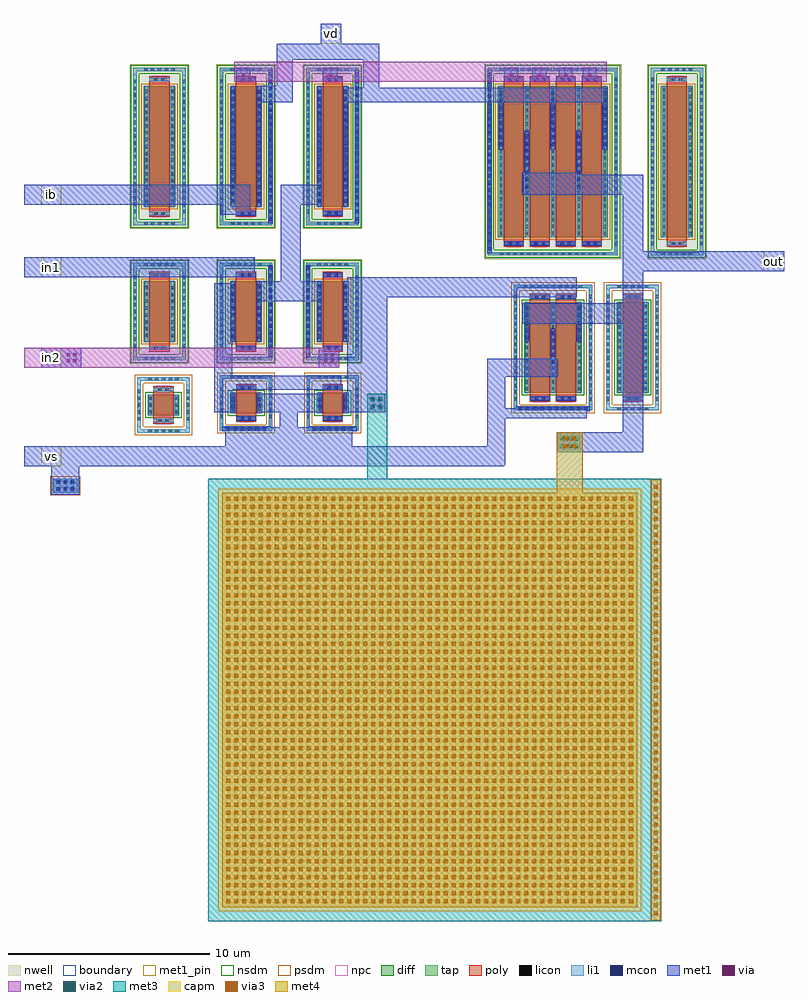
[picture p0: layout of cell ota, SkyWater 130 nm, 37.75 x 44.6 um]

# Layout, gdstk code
import gdstk
lib = gdstk.Library(unit=1e-6, precision=1e-09)
def R(c, l, rs):  # rectangles x0, y0, x1, y1
    for r in rs: c.add(gdstk.rectangle(r[:2], r[2:], *l))
def A(c, l, x, y, w, h, nx, ny, dx, dy):  # array of equal rectangles
    R(c, l, [(x+i*dx, y+j*dy, x+i*dx+w, y+j*dy+h) for i in range(nx) for j in range(ny)])
nwell = (64, 20)
diff = (65, 20)
tap = (65, 44)
poly = (66, 20)
licon = (66, 44)
li1 = (67, 20)
mcon = (67, 44)
met1_pin = (68, 16)
met1 = (68, 20)
via = (68, 44)
met2 = (69, 20)
via2 = (69, 44)
met3 = (70, 20)
via3 = (70, 44)
met4 = (71, 20)
capm = (89, 44)
nsdm = (93, 44)
psdm = (94, 20)
npc = (95, 20)
boundary = (235, 4)

sky130_fd_pr__pfet_01v8_ = lib.new_cell('sky130_fd_pr__pfet_01v8_G8TPYT')
R(sky130_fd_pr__pfet_01v8_, nwell, [(-1.48,-4.095,1.48,4.095)])
R(sky130_fd_pr__pfet_01v8_, diff, [(-0.79,-3,0.79,3)])
R(sky130_fd_pr__pfet_01v8_, tap, [(-1.3,-3.915,1.3,-3.745), (-1.3,-3.745,-1.13,3.745), (1.13,-3.745,1.3,3.745), (-1.3,3.745,1.3,3.915)])
R(sky130_fd_pr__pfet_01v8_, poly, [(-0.5,-3.485,0.5,3.485)])
A(sky130_fd_pr__pfet_01v8_, licon, -0.765, -3.915, 0.17, 0.17, 5, 2, 0.34, 7.66)
A(sky130_fd_pr__pfet_01v8_, licon, -1.3, -3.315, 0.17, 0.17, 1, 20, 0, 0.34)
A(sky130_fd_pr__pfet_01v8_, licon, 1.13, -3.315, 0.17, 0.17, 1, 20, 0, 0.34)
A(sky130_fd_pr__pfet_01v8_, licon, -0.73, -2.805, 0.17, 0.17, 1, 17, 0, 0.34)
A(sky130_fd_pr__pfet_01v8_, licon, 0.56, -2.805, 0.17, 0.17, 1, 17, 0, 0.34)
R(sky130_fd_pr__pfet_01v8_, licon, [(-0.255,-3.405,-0.085,-3.235), (0.085,-3.405,0.255,-3.235), (-0.255,3.235,-0.085,3.405), (0.085,3.235,0.255,3.405)])
R(sky130_fd_pr__pfet_01v8_, li1, [(-1.3,-3.915,1.3,-3.745), (-1.3,-3.745,-1.13,3.745), (1.13,-3.745,1.3,3.745), (-0.5,-3.405,0.5,-3.235), (-0.73,-3.02,-0.56,3.02), (0.56,-3.02,0.73,3.02), (-0.5,3.235,0.5,3.405), (-1.3,3.745,1.3,3.915)])
A(sky130_fd_pr__pfet_01v8_, mcon, 1.13, -3.685, 0.17, 0.17, 1, 21, 0, 0.36)
A(sky130_fd_pr__pfet_01v8_, mcon, -0.73, -2.785, 0.17, 0.17, 1, 16, 0, 0.36)
A(sky130_fd_pr__pfet_01v8_, mcon, 0.56, -2.785, 0.17, 0.17, 1, 16, 0, 0.36)
R(sky130_fd_pr__pfet_01v8_, mcon, [(-0.265,-3.405,-0.095,-3.235), (0.095,-3.405,0.265,-3.235), (-0.265,3.235,-0.095,3.405), (0.095,3.235,0.265,3.405)])
R(sky130_fd_pr__pfet_01v8_, met1, [(1.1,-3.805,1.33,3.805), (-0.48,-3.435,0.48,-3.205), (-0.76,-3,-0.53,3), (0.53,-3,0.76,3), (-0.48,3.205,0.48,3.435)])
R(sky130_fd_pr__pfet_01v8_, nsdm, [(-1.425,-4.04,1.425,-3.62), (-1.425,-3.62,-1.005,3.62), (1.005,-3.62,1.425,3.62), (-1.425,3.62,1.425,4.04)])
R(sky130_fd_pr__pfet_01v8_, psdm, [(-0.915,-3.125,0.915,3.125)])
R(sky130_fd_pr__pfet_01v8_, npc, [(-0.355,-3.505,0.355,-3.135), (-0.355,3.135,0.355,3.505)])
R(sky130_fd_pr__pfet_01v8_, boundary, [(-1.215,-3.83,1.215,3.83)])

sky130_fd_pr__nfet_01v8_ = lib.new_cell('sky130_fd_pr__nfet_01v8_SXTBPF')
R(sky130_fd_pr__nfet_01v8_, diff, [(-0.79,-0.5,0.79,0.5)])
R(sky130_fd_pr__nfet_01v8_, tap, [(-1.3,-1.37,1.3,-1.2), (-1.3,-1.2,-1.13,1.2), (1.13,-1.2,1.3,1.2), (-1.3,1.2,1.3,1.37)])
R(sky130_fd_pr__nfet_01v8_, poly, [(-0.5,-0.94,0.5,0.94)])
A(sky130_fd_pr__nfet_01v8_, licon, -0.765, -1.37, 0.17, 0.17, 5, 2, 0.34, 2.57)
A(sky130_fd_pr__nfet_01v8_, licon, -1.3, -0.765, 0.17, 0.17, 1, 5, 0, 0.34)
A(sky130_fd_pr__nfet_01v8_, licon, 1.13, -0.765, 0.17, 0.17, 1, 5, 0, 0.34)
A(sky130_fd_pr__nfet_01v8_, licon, -0.73, -0.425, 0.17, 0.17, 1, 3, 0, 0.34)
A(sky130_fd_pr__nfet_01v8_, licon, 0.56, -0.425, 0.17, 0.17, 1, 3, 0, 0.34)
R(sky130_fd_pr__nfet_01v8_, licon, [(-0.255,-0.86,-0.085,-0.69), (0.085,-0.86,0.255,-0.69), (-0.255,0.69,-0.085,0.86), (0.085,0.69,0.255,0.86)])
R(sky130_fd_pr__nfet_01v8_, li1, [(-1.3,-1.37,1.3,-1.2), (-1.3,-1.2,-1.13,1.2), (1.13,-1.2,1.3,1.2), (-0.5,-0.86,0.5,-0.69), (-0.73,-0.52,-0.56,0.52), (0.56,-0.52,0.73,0.52), (-0.5,0.69,0.5,0.86), (-1.3,1.2,1.3,1.37)])
A(sky130_fd_pr__nfet_01v8_, mcon, -0.985, -1.37, 0.17, 0.17, 6, 1, 0.36, 0)
R(sky130_fd_pr__nfet_01v8_, mcon, [(-0.265,-0.86,-0.095,-0.69), (0.095,-0.86,0.265,-0.69), (-0.73,-0.265,-0.56,-0.095), (0.56,-0.265,0.73,-0.095), (-0.73,0.095,-0.56,0.265), (0.56,0.095,0.73,0.265), (-0.265,0.69,-0.095,0.86), (0.095,0.69,0.265,0.86)])
R(sky130_fd_pr__nfet_01v8_, met1, [(-1.19,-1.4,1.19,-1.17), (-0.48,-0.89,0.48,-0.66), (-0.76,-0.5,-0.53,0.5), (0.53,-0.5,0.76,0.5), (-0.48,0.66,0.48,0.89)])
R(sky130_fd_pr__nfet_01v8_, nsdm, [(-0.915,-0.625,0.915,0.625)])
R(sky130_fd_pr__nfet_01v8_, psdm, [(-1.425,-1.495,1.425,-1.075), (-1.425,-1.075,-1.005,1.075), (1.005,-1.075,1.425,1.075), (-1.425,1.075,1.425,1.495)])
R(sky130_fd_pr__nfet_01v8_, npc, [(-0.355,-0.96,0.355,-0.59), (-0.355,0.59,0.355,0.96)])
R(sky130_fd_pr__nfet_01v8_, boundary, [(-1.21,-1.28,1.21,1.28)])

c_sky130_fd_pr__pfet_01v8_ = lib.new_cell('sky130_fd_pr__pfet_01v8_8ALGB7')
R(c_sky130_fd_pr__pfet_01v8_, nwell, [(-3.415,-4.845,3.415,4.845)])
R(c_sky130_fd_pr__pfet_01v8_, diff, [(-2.725,-3.75,2.725,3.75)])
R(c_sky130_fd_pr__pfet_01v8_, tap, [(-3.235,-4.665,3.235,-4.495), (-3.235,-4.495,-3.065,4.495), (3.065,-4.495,3.235,4.495), (-3.235,4.495,3.235,4.665)])
A(c_sky130_fd_pr__pfet_01v8_, poly, -2.435, -4.235, 1, 8.47, 4, 1, 1.29, 0)
A(c_sky130_fd_pr__pfet_01v8_, licon, -2.635, -4.665, 0.17, 0.17, 16, 2, 0.34, 9.16)
A(c_sky130_fd_pr__pfet_01v8_, licon, -3.235, -4.165, 0.17, 0.17, 1, 25, 0, 0.34)
A(c_sky130_fd_pr__pfet_01v8_, licon, 3.065, -4.165, 0.17, 0.17, 1, 25, 0, 0.34)
A(c_sky130_fd_pr__pfet_01v8_, licon, -2.665, -3.655, 0.17, 0.17, 5, 22, 1.29, 0.34)
R(c_sky130_fd_pr__pfet_01v8_, licon, [(-2.19,-4.155,-2.02,-3.985), (-1.85,-4.155,-1.68,-3.985), (-0.9,-4.155,-0.73,-3.985), (-0.56,-4.155,-0.39,-3.985), (0.39,-4.155,0.56,-3.985), (0.73,-4.155,0.9,-3.985), (1.68,-4.155,1.85,-3.985), (2.02,-4.155,2.19,-3.985), (-2.19,3.985,-2.02,4.155), (-1.85,3.985,-1.68,4.155), (-0.9,3.985,-0.73,4.155), (-0.56,3.985,-0.39,4.155), (0.39,3.985,0.56,4.155), (0.73,3.985,0.9,4.155), (1.68,3.985,1.85,4.155), (2.02,3.985,2.19,4.155)])
A(c_sky130_fd_pr__pfet_01v8_, li1, -2.435, -4.155, 1, 0.17, 4, 2, 1.29, 8.14)
A(c_sky130_fd_pr__pfet_01v8_, li1, -2.665, -3.77, 0.17, 7.54, 5, 1, 1.29, 0)
R(c_sky130_fd_pr__pfet_01v8_, li1, [(-3.235,-4.665,3.235,-4.495), (-3.235,-4.495,-3.065,4.495), (3.065,-4.495,3.235,4.495), (-3.235,4.495,3.235,4.665)])
A(c_sky130_fd_pr__pfet_01v8_, mcon, -3.235, -4.405, 0.17, 0.17, 1, 25, 0, 0.36)
A(c_sky130_fd_pr__pfet_01v8_, mcon, -1.375, -1.345, 0.17, 0.17, 1, 8, 0, 0.36)
A(c_sky130_fd_pr__pfet_01v8_, mcon, 1.205, -1.345, 0.17, 0.17, 1, 8, 0, 0.36)
A(c_sky130_fd_pr__pfet_01v8_, mcon, -2.665, 0.785, 0.17, 0.17, 3, 8, 2.58, 0.36)
R(c_sky130_fd_pr__pfet_01v8_, mcon, [(-2.2,-4.155,-2.03,-3.985), (-1.84,-4.155,-1.67,-3.985), (-0.91,-4.155,-0.74,-3.985), (-0.55,-4.155,-0.38,-3.985), (0.38,-4.155,0.55,-3.985), (0.74,-4.155,0.91,-3.985), (1.67,-4.155,1.84,-3.985), (2.03,-4.155,2.2,-3.985), (-2.2,3.985,-2.03,4.155), (-1.84,3.985,-1.67,4.155), (-0.91,3.985,-0.74,4.155), (-0.55,3.985,-0.38,4.155), (0.38,3.985,0.55,4.155), (0.74,3.985,0.91,4.155), (1.67,3.985,1.84,4.155), (2.03,3.985,2.2,4.155)])
A(c_sky130_fd_pr__pfet_01v8_, met1, -2.415, -4.185, 0.96, 0.23, 4, 2, 1.29, 8.14)
A(c_sky130_fd_pr__pfet_01v8_, met1, -2.695, 0.595, 0.23, 3.07, 3, 1, 2.58, 0)
R(c_sky130_fd_pr__pfet_01v8_, met1, [(-3.265,-4.555,-3.035,4.555), (-1.405,-1.535,-1.175,1.535), (1.175,-1.535,1.405,1.535)])
R(c_sky130_fd_pr__pfet_01v8_, nsdm, [(-3.36,-4.79,3.36,-4.37), (-3.36,-4.37,-2.94,4.37), (2.94,-4.37,3.36,4.37), (-3.36,4.37,3.36,4.79)])
R(c_sky130_fd_pr__pfet_01v8_, psdm, [(-2.85,-3.875,2.85,3.875)])
A(c_sky130_fd_pr__pfet_01v8_, npc, -2.29, -4.255, 0.71, 0.37, 4, 2, 1.29, 8.14)
R(c_sky130_fd_pr__pfet_01v8_, boundary, [(-3.15,-4.58,3.15,4.58)])

c_sky130_fd_pr__nfet_01v8_ = lib.new_cell('sky130_fd_pr__nfet_01v8_XABGW3')
R(c_sky130_fd_pr__nfet_01v8_, diff, [(-1.435,-2.25,1.435,2.25)])
R(c_sky130_fd_pr__nfet_01v8_, tap, [(-1.945,-3.12,1.945,-2.95), (-1.945,-2.95,-1.775,2.95), (1.775,-2.95,1.945,2.95), (-1.945,2.95,1.945,3.12)])
R(c_sky130_fd_pr__nfet_01v8_, poly, [(-1.145,-2.69,-0.145,2.69), (0.145,-2.69,1.145,2.69)])
A(c_sky130_fd_pr__nfet_01v8_, licon, -1.445, -3.12, 0.17, 0.17, 9, 2, 0.34, 6.07)
A(c_sky130_fd_pr__nfet_01v8_, licon, -1.945, -2.635, 0.17, 0.17, 1, 16, 0, 0.34)
A(c_sky130_fd_pr__nfet_01v8_, licon, 1.775, -2.635, 0.17, 0.17, 1, 16, 0, 0.34)
A(c_sky130_fd_pr__nfet_01v8_, licon, -1.375, -2.125, 0.17, 0.17, 3, 13, 1.29, 0.34)
R(c_sky130_fd_pr__nfet_01v8_, licon, [(-0.9,-2.61,-0.73,-2.44), (-0.56,-2.61,-0.39,-2.44), (0.39,-2.61,0.56,-2.44), (0.73,-2.61,0.9,-2.44), (-0.9,2.44,-0.73,2.61), (-0.56,2.44,-0.39,2.61), (0.39,2.44,0.56,2.61), (0.73,2.44,0.9,2.61)])
A(c_sky130_fd_pr__nfet_01v8_, li1, -1.375, -2.27, 0.17, 4.54, 3, 1, 1.29, 0)
R(c_sky130_fd_pr__nfet_01v8_, li1, [(-1.945,-3.12,1.945,-2.95), (-1.945,-2.95,-1.775,2.95), (1.775,-2.95,1.945,2.95), (-1.145,-2.61,-0.145,-2.44), (0.145,-2.61,1.145,-2.44), (-1.145,2.44,-0.145,2.61), (0.145,2.44,1.145,2.61), (-1.945,2.95,1.945,3.12)])
A(c_sky130_fd_pr__nfet_01v8_, mcon, -1.705, -3.12, 0.17, 0.17, 10, 1, 0.36, 0)
A(c_sky130_fd_pr__nfet_01v8_, mcon, -0.085, -0.805, 0.17, 0.17, 1, 5, 0, 0.36)
A(c_sky130_fd_pr__nfet_01v8_, mcon, -1.375, 0.425, 0.17, 0.17, 1, 5, 0, 0.36)
A(c_sky130_fd_pr__nfet_01v8_, mcon, 1.205, 0.425, 0.17, 0.17, 1, 5, 0, 0.36)
R(c_sky130_fd_pr__nfet_01v8_, mcon, [(-0.91,-2.61,-0.74,-2.44), (-0.55,-2.61,-0.38,-2.44), (0.38,-2.61,0.55,-2.44), (0.74,-2.61,0.91,-2.44), (-0.91,2.44,-0.74,2.61), (-0.55,2.44,-0.38,2.61), (0.38,2.44,0.55,2.61), (0.74,2.44,0.91,2.61)])
R(c_sky130_fd_pr__nfet_01v8_, met1, [(-1.835,-3.15,1.835,-2.92), (-1.125,-2.64,-0.165,-2.41), (0.165,-2.64,1.125,-2.41), (-0.115,-0.935,0.115,0.935), (-1.405,0.295,-1.175,2.165), (1.175,0.295,1.405,2.165), (-1.125,2.41,-0.165,2.64), (0.165,2.41,1.125,2.64)])
R(c_sky130_fd_pr__nfet_01v8_, nsdm, [(-1.56,-2.375,1.56,2.375)])
R(c_sky130_fd_pr__nfet_01v8_, psdm, [(-2.07,-3.245,2.07,-2.825), (-2.07,-2.825,-1.65,2.825), (1.65,-2.825,2.07,2.825), (-2.07,2.825,2.07,3.245)])
R(c_sky130_fd_pr__nfet_01v8_, npc, [(-1,-2.71,-0.29,-2.34), (0.29,-2.71,1,-2.34), (-1,2.34,-0.29,2.71), (0.29,2.34,1,2.71)])
R(c_sky130_fd_pr__nfet_01v8_, boundary, [(-1.86,-3.035,1.86,3.035)])

c_sky130_fd_pr__pfet_01v8__ = lib.new_cell('sky130_fd_pr__pfet_01v8_G8PDUZ')
R(c_sky130_fd_pr__pfet_01v8__, nwell, [(-1.48,-2.595,1.48,2.595)])
R(c_sky130_fd_pr__pfet_01v8__, diff, [(-0.79,-1.5,0.79,1.5)])
R(c_sky130_fd_pr__pfet_01v8__, tap, [(-1.3,-2.415,1.3,-2.245), (-1.3,-2.245,-1.13,2.245), (1.13,-2.245,1.3,2.245), (-1.3,2.245,1.3,2.415)])
R(c_sky130_fd_pr__pfet_01v8__, poly, [(-0.5,-1.985,0.5,1.985)])
A(c_sky130_fd_pr__pfet_01v8__, licon, -0.765, -2.415, 0.17, 0.17, 5, 2, 0.34, 4.66)
A(c_sky130_fd_pr__pfet_01v8__, licon, -1.3, -1.785, 0.17, 0.17, 1, 11, 0, 0.34)
A(c_sky130_fd_pr__pfet_01v8__, licon, 1.13, -1.785, 0.17, 0.17, 1, 11, 0, 0.34)
A(c_sky130_fd_pr__pfet_01v8__, licon, -0.73, -1.275, 0.17, 0.17, 1, 8, 0, 0.34)
A(c_sky130_fd_pr__pfet_01v8__, licon, 0.56, -1.275, 0.17, 0.17, 1, 8, 0, 0.34)
R(c_sky130_fd_pr__pfet_01v8__, licon, [(-0.255,-1.905,-0.085,-1.735), (0.085,-1.905,0.255,-1.735), (-0.255,1.735,-0.085,1.905), (0.085,1.735,0.255,1.905)])
R(c_sky130_fd_pr__pfet_01v8__, li1, [(-1.3,-2.415,1.3,-2.245), (-1.3,-2.245,-1.13,2.245), (1.13,-2.245,1.3,2.245), (-0.5,-1.905,0.5,-1.735), (-0.73,-1.52,-0.56,1.52), (0.56,-1.52,0.73,1.52), (-0.5,1.735,0.5,1.905), (-1.3,2.245,1.3,2.415)])
A(c_sky130_fd_pr__pfet_01v8__, mcon, -1.3, -2.245, 0.17, 0.17, 1, 13, 0, 0.36)
A(c_sky130_fd_pr__pfet_01v8__, mcon, -0.73, -1.345, 0.17, 0.17, 1, 8, 0, 0.36)
A(c_sky130_fd_pr__pfet_01v8__, mcon, 0.56, -1.345, 0.17, 0.17, 1, 8, 0, 0.36)
R(c_sky130_fd_pr__pfet_01v8__, mcon, [(-0.265,-1.905,-0.095,-1.735), (0.095,-1.905,0.265,-1.735), (-0.265,1.735,-0.095,1.905), (0.095,1.735,0.265,1.905)])
R(c_sky130_fd_pr__pfet_01v8__, met1, [(-1.33,-2.305,-1.1,2.305), (-0.48,-1.935,0.48,-1.705), (-0.76,-1.5,-0.53,1.5), (0.53,-1.5,0.76,1.5), (-0.48,1.705,0.48,1.935)])
R(c_sky130_fd_pr__pfet_01v8__, nsdm, [(-1.425,-2.54,1.425,-2.12), (-1.425,-2.12,-1.005,2.12), (1.005,-2.12,1.425,2.12), (-1.425,2.12,1.425,2.54)])
R(c_sky130_fd_pr__pfet_01v8__, psdm, [(-0.915,-1.625,0.915,1.625)])
R(c_sky130_fd_pr__pfet_01v8__, npc, [(-0.355,-2.005,0.355,-1.635), (-0.355,1.635,0.355,2.005)])
R(c_sky130_fd_pr__pfet_01v8__, boundary, [(-1.215,-2.33,1.215,2.33)])

c_sky130_fd_pr__pfet_01v8___ = lib.new_cell('sky130_fd_pr__pfet_01v8_G8TFUZ')
R(c_sky130_fd_pr__pfet_01v8___, nwell, [(-1.48,-2.595,1.48,2.595)])
R(c_sky130_fd_pr__pfet_01v8___, diff, [(-0.79,-1.5,0.79,1.5)])
R(c_sky130_fd_pr__pfet_01v8___, tap, [(-1.3,-2.415,1.3,-2.245), (-1.3,-2.245,-1.13,2.245), (1.13,-2.245,1.3,2.245), (-1.3,2.245,1.3,2.415)])
R(c_sky130_fd_pr__pfet_01v8___, poly, [(-0.5,-1.985,0.5,1.985)])
A(c_sky130_fd_pr__pfet_01v8___, licon, -0.765, -2.415, 0.17, 0.17, 5, 2, 0.34, 4.66)
A(c_sky130_fd_pr__pfet_01v8___, licon, -1.3, -1.785, 0.17, 0.17, 1, 11, 0, 0.34)
A(c_sky130_fd_pr__pfet_01v8___, licon, 1.13, -1.785, 0.17, 0.17, 1, 11, 0, 0.34)
A(c_sky130_fd_pr__pfet_01v8___, licon, -0.73, -1.275, 0.17, 0.17, 1, 8, 0, 0.34)
A(c_sky130_fd_pr__pfet_01v8___, licon, 0.56, -1.275, 0.17, 0.17, 1, 8, 0, 0.34)
R(c_sky130_fd_pr__pfet_01v8___, licon, [(-0.255,-1.905,-0.085,-1.735), (0.085,-1.905,0.255,-1.735), (-0.255,1.735,-0.085,1.905), (0.085,1.735,0.255,1.905)])
R(c_sky130_fd_pr__pfet_01v8___, li1, [(-1.3,-2.415,1.3,-2.245), (-1.3,-2.245,-1.13,2.245), (1.13,-2.245,1.3,2.245), (-0.5,-1.905,0.5,-1.735), (-0.73,-1.52,-0.56,1.52), (0.56,-1.52,0.73,1.52), (-0.5,1.735,0.5,1.905), (-1.3,2.245,1.3,2.415)])
A(c_sky130_fd_pr__pfet_01v8___, mcon, 1.13, -2.245, 0.17, 0.17, 1, 13, 0, 0.36)
A(c_sky130_fd_pr__pfet_01v8___, mcon, -0.73, -1.345, 0.17, 0.17, 1, 8, 0, 0.36)
A(c_sky130_fd_pr__pfet_01v8___, mcon, 0.56, -1.345, 0.17, 0.17, 1, 8, 0, 0.36)
R(c_sky130_fd_pr__pfet_01v8___, mcon, [(-0.265,-1.905,-0.095,-1.735), (0.095,-1.905,0.265,-1.735), (-0.265,1.735,-0.095,1.905), (0.095,1.735,0.265,1.905)])
R(c_sky130_fd_pr__pfet_01v8___, met1, [(1.1,-2.305,1.33,2.305), (-0.48,-1.935,0.48,-1.705), (-0.76,-1.5,-0.53,1.5), (0.53,-1.5,0.76,1.5), (-0.48,1.705,0.48,1.935)])
R(c_sky130_fd_pr__pfet_01v8___, nsdm, [(-1.425,-2.54,1.425,-2.12), (-1.425,-2.12,-1.005,2.12), (1.005,-2.12,1.425,2.12), (-1.425,2.12,1.425,2.54)])
R(c_sky130_fd_pr__pfet_01v8___, psdm, [(-0.915,-1.625,0.915,1.625)])
R(c_sky130_fd_pr__pfet_01v8___, npc, [(-0.355,-2.005,0.355,-1.635), (-0.355,1.635,0.355,2.005)])
R(c_sky130_fd_pr__pfet_01v8___, boundary, [(-1.215,-2.33,1.215,2.33)])

sky130_fd_pr__cap_mim_m3 = lib.new_cell('sky130_fd_pr__cap_mim_m3_1_2NYK3R')
R(sky130_fd_pr__cap_mim_m3, met3, [(-11.25,-11,11.245,11)])
A(sky130_fd_pr__cap_mim_m3, via3, 10.885, -10.7, 0.2, 0.2, 1, 54, 0, 0.4)
A(sky130_fd_pr__cap_mim_m3, via3, -10.35, -10.1, 0.2, 0.2, 51, 51, 0.4, 0.4)
R(sky130_fd_pr__cap_mim_m3, met4, [(10.745,-10.94,11.225,10.94), (-10.555,-10.305,10.055,10.305)])
R(sky130_fd_pr__cap_mim_m3, capm, [(-10.75,-10.5,10.25,10.5)])
R(sky130_fd_pr__cap_mim_m3, boundary, [(-11.25,-11,10.75,11)])

ota = lib.new_cell('ota')
R(ota, nwell, [(-4.3,28.4,-1.34,33.59), (21.4,33.6,24.36,43.29), (-4.3,35.1,-1.34,43.29)])
R(ota, diff, [(-3.41,25.85,-1.83,26.85), (19.89,26.95,21.47,31.45), (-3.61,29.495,-2.03,32.495), (22.09,34.695,23.67,42.195), (-3.61,36.195,-2.03,42.195)])
R(ota, tap, [(-8.12,22,-6.88,22.7), (-3.92,24.98,-1.32,25.15), (-3.92,25.15,-3.75,27.55), (-1.49,25.15,-1.32,27.55), (19.38,26.08,21.98,26.25), (19.38,26.25,19.55,32.15), (21.81,26.25,21.98,32.15), (-3.92,27.55,-1.32,27.72), (-4.12,28.58,-1.52,28.75), (-4.12,28.75,-3.95,33.24), (-1.69,28.75,-1.52,33.24), (19.38,32.15,21.98,32.32), (-4.12,33.24,-1.52,33.41), (21.58,33.78,24.18,33.95), (21.58,33.95,21.75,42.94), (24.01,33.95,24.18,42.94), (-4.12,35.28,-1.52,35.45), (-4.12,35.45,-3.95,42.94), (-1.69,35.45,-1.52,42.94), (-4.12,42.94,-1.52,43.11), (21.58,42.94,24.18,43.11)])
R(ota, poly, [(-3.12,25.41,-2.12,27.29), (20.18,26.51,21.18,31.89), (-3.32,29.01,-2.32,32.98), (22.38,34.21,23.38,42.68), (-3.32,35.71,-2.32,42.68)])
A(ota, licon, -7.925, 22.095, 0.17, 0.17, 3, 2, 0.34, 0.34)
A(ota, licon, -3.385, 24.98, 0.17, 0.17, 5, 2, 0.34, 2.57)
A(ota, licon, -3.92, 25.585, 0.17, 0.17, 1, 5, 0, 0.34)
A(ota, licon, -1.49, 25.585, 0.17, 0.17, 1, 5, 0, 0.34)
A(ota, licon, -3.35, 25.925, 0.17, 0.17, 1, 3, 0, 0.34)
A(ota, licon, -2.06, 25.925, 0.17, 0.17, 1, 3, 0, 0.34)
A(ota, licon, 19.915, 26.08, 0.17, 0.17, 5, 2, 0.34, 6.07)
A(ota, licon, 19.38, 26.565, 0.17, 0.17, 1, 16, 0, 0.34)
A(ota, licon, 21.81, 26.565, 0.17, 0.17, 1, 16, 0, 0.34)
A(ota, licon, 19.95, 27.075, 0.17, 0.17, 1, 13, 0, 0.34)
A(ota, licon, 21.24, 27.075, 0.17, 0.17, 1, 13, 0, 0.34)
A(ota, licon, -3.585, 28.58, 0.17, 0.17, 5, 2, 0.34, 4.66)
A(ota, licon, -4.12, 29.21, 0.17, 0.17, 1, 11, 0, 0.34)
A(ota, licon, -1.69, 29.21, 0.17, 0.17, 1, 11, 0, 0.34)
A(ota, licon, -3.55, 29.72, 0.17, 0.17, 1, 8, 0, 0.34)
A(ota, licon, -2.26, 29.72, 0.17, 0.17, 1, 8, 0, 0.34)
A(ota, licon, 22.115, 33.78, 0.17, 0.17, 5, 2, 0.34, 9.16)
A(ota, licon, 21.58, 34.28, 0.17, 0.17, 1, 25, 0, 0.34)
A(ota, licon, 24.01, 34.28, 0.17, 0.17, 1, 25, 0, 0.34)
A(ota, licon, 22.15, 34.79, 0.17, 0.17, 1, 22, 0, 0.34)
A(ota, licon, 23.44, 34.79, 0.17, 0.17, 1, 22, 0, 0.34)
A(ota, licon, -3.585, 35.28, 0.17, 0.17, 5, 2, 0.34, 7.66)
A(ota, licon, -4.12, 35.88, 0.17, 0.17, 1, 20, 0, 0.34)
A(ota, licon, -1.69, 35.88, 0.17, 0.17, 1, 20, 0, 0.34)
A(ota, licon, -3.55, 36.39, 0.17, 0.17, 1, 17, 0, 0.34)
A(ota, licon, -2.26, 36.39, 0.17, 0.17, 1, 17, 0, 0.34)
R(ota, licon, [(-2.875,25.49,-2.705,25.66), (-2.535,25.49,-2.365,25.66), (20.425,26.59,20.595,26.76), (20.765,26.59,20.935,26.76), (-2.875,27.04,-2.705,27.21), (-2.535,27.04,-2.365,27.21), (-3.075,29.09,-2.905,29.26), (-2.735,29.09,-2.565,29.26), (20.425,31.64,20.595,31.81), (20.765,31.64,20.935,31.81), (-3.075,32.73,-2.905,32.9), (-2.735,32.73,-2.565,32.9), (22.625,34.29,22.795,34.46), (22.965,34.29,23.135,34.46), (-3.075,35.79,-2.905,35.96), (-2.735,35.79,-2.565,35.96), (-3.075,42.43,-2.905,42.6), (-2.735,42.43,-2.565,42.6), (22.625,42.43,22.795,42.6), (22.965,42.43,23.135,42.6)])
R(ota, li1, [(-8.1,22,-6.9,22.7), (-3.92,24.98,-1.32,25.15), (-3.92,25.15,-3.75,27.55), (-1.49,25.15,-1.32,27.55), (-3.12,25.49,-2.12,25.66), (-3.35,25.83,-3.18,26.87), (-2.06,25.83,-1.89,26.87), (19.38,26.08,21.98,26.25), (19.38,26.25,19.55,32.15), (21.81,26.25,21.98,32.15), (20.18,26.59,21.18,26.76), (19.95,26.93,20.12,31.47), (21.24,26.93,21.41,31.47), (-3.12,27.04,-2.12,27.21), (-3.92,27.55,-1.32,27.72), (-4.12,28.58,-1.52,28.75), (-4.12,28.75,-3.95,33.24), (-1.69,28.75,-1.52,33.24), (-3.32,29.09,-2.32,29.26), (-3.55,29.475,-3.38,32.515), (-2.26,29.475,-2.09,32.515), (20.18,31.64,21.18,31.81), (19.38,32.15,21.98,32.32), (-3.32,32.73,-2.32,32.9), (-4.12,33.24,-1.52,33.41), (21.58,33.78,24.18,33.95), (21.58,33.95,21.75,42.94), (24.01,33.95,24.18,42.94), (22.38,34.29,23.38,34.46), (22.15,34.675,22.32,42.215), (23.44,34.675,23.61,42.215), (-4.12,35.28,-1.52,35.45), (-4.12,35.45,-3.95,42.94), (-1.69,35.45,-1.52,42.94), (-3.32,35.79,-2.32,35.96), (-3.55,36.175,-3.38,42.215), (-2.26,36.175,-2.09,42.215), (-3.32,42.43,-2.32,42.6), (22.38,42.43,23.38,42.6), (-4.12,42.94,-1.52,43.11), (21.58,42.94,24.18,43.11)])
A(ota, mcon, -7.945, 22.085, 0.17, 0.17, 3, 2, 0.36, 0.36)
R(ota, met1_pin, [(-8.7,23.3,-7.7,24.3), (-8.7,28.2,-7.7,29.2), (-8.7,32.7,-7.7,33.7), (27.2,33,28.2,34), (-8.7,36.3,-7.7,37.3), (5.2,44.3,6.2,45.3)])
R(ota, met1, [(-8.2,21.9,-6.8,23.3), (-9.55,23.3,14.3,23.35), (-9.55,23.35,14.35,24.3), (16.9,24,21.2,25), (0.45,24.3,6.75,25.25), (13.45,24.3,14.35,25.7), (20.2,25,21.2,30.4), (3.15,25.25,4.05,26), (13.45,25.7,18.4,26.2), (-0.1,26,0.8,27.1), (2.1,26,5.1,26.9), (6.5,26,8.5,31.7), (13.45,26.2,14.35,27.75), (-0.1,27.1,6.2,27.8), (13.45,27.75,16.95,28.65), (-0.1,27.8,0.8,32.4), (-8.7,28.2,-6.7,29.2), (5.1,28.2,6.1,29.2), (15.2,30.4,21.2,31.4), (20.2,31.4,21.2,33), (2.1,31.5,5.2,32.5), (6.5,31.7,17.9,32.7), (3.2,32.5,4.2,36.3), (-9.55,32.7,1.9,33.7), (20.2,33,28.2,34), (20.2,34,21.2,36.8), (0.2,35.8,1.7,36.3), (-9.55,36.3,1.7,37.3), (3.2,36.3,5.2,37.3), (15.2,36.8,21.2,37.8), (15.2,37.8,18.1,37.9), (2,41.4,3.8,42.2), (6.4,41.4,19.4,42.1), (7.3,42.1,8.1,43.5), (3,42.2,3.8,43.5), (1,42.4,1.7,43.1), (5.3,42.4,6,43.1), (14.3,42.4,15,43.1), (15.7,42.4,16.4,43.1), (17,42.4,17.7,43.1), (18.2,42.4,18.9,43.1), (3,43.5,8.1,44.3), (5.2,44.3,6.2,45.3)])
A(ota, via, 17.155, 24.265, 0.15, 0.15, 3, 2, 0.32, 0.32)
R(ota, via, [(7.715,26.215,7.865,26.365), (8.035,26.215,8.185,26.365), (7.715,26.535,7.865,26.685), (8.035,26.535,8.185,26.685), (-7.435,28.465,-7.285,28.615), (-7.115,28.465,-6.965,28.615), (5.365,28.465,5.515,28.615), (5.685,28.465,5.835,28.615), (-7.435,28.785,-7.285,28.935), (-7.115,28.785,-6.965,28.935), (5.365,28.785,5.515,28.935), (5.685,28.785,5.835,28.935), (1.275,42.675,1.425,42.825), (5.575,42.675,5.725,42.825), (14.575,42.675,14.725,42.825), (15.975,42.675,16.125,42.825), (17.275,42.675,17.425,42.825), (18.475,42.675,18.625,42.825)])
R(ota, met2, [(16.9,24,18.2,25), (7.5,26,8.4,26.9), (-9.55,28.2,6.1,29.2), (0.9,42.4,19.4,43.4)])
A(ota, via2, 17.05, 24.2, 0.2, 0.2, 3, 2, 0.4, 0.4)
R(ota, via2, [(7.65,26.15,7.85,26.35), (8.05,26.15,8.25,26.35), (7.65,26.55,7.85,26.75), (8.05,26.55,8.25,26.75)])
R(ota, met3, [(7.5,21.7,8.5,26.9), (16.9,24,18.2,25)])
R(ota, via3, [(17.25,24.2,17.45,24.4), (17.65,24.2,17.85,24.4), (17.25,24.6,17.45,24.8), (17.65,24.6,17.85,24.8)])
R(ota, met4, [(16.9,20.9,18.2,25)])
R(ota, nsdm, [(-3.535,25.725,-1.705,26.975), (19.765,26.825,21.595,31.575), (-4.245,28.455,-1.395,28.875), (-4.245,28.875,-3.825,33.115), (-1.815,28.875,-1.395,33.115), (-4.245,33.115,-1.395,33.535), (21.455,33.655,24.305,34.075), (21.455,34.075,21.875,42.815), (23.885,34.075,24.305,42.815), (-4.245,35.155,-1.395,35.575), (-4.245,35.575,-3.825,42.815), (-1.815,35.575,-1.395,42.815), (-4.245,42.815,-1.395,43.235), (21.455,42.815,24.305,43.235)])
R(ota, psdm, [(-8.245,21.875,-6.755,22.825), (-4.045,24.855,-1.195,25.275), (-4.045,25.275,-3.625,27.425), (-1.615,25.275,-1.195,27.425), (19.255,25.955,22.105,26.375), (19.255,26.375,19.675,32.025), (21.685,26.375,22.105,32.025), (-4.045,27.425,-1.195,27.845), (-3.735,29.37,-1.905,32.62), (19.255,32.025,22.105,32.445), (21.965,34.57,23.795,42.32), (-3.735,36.07,-1.905,42.32)])
R(ota, npc, [(-2.975,25.39,-2.265,25.76), (20.325,26.49,21.035,26.86), (-2.975,26.94,-2.265,27.31), (-3.175,28.99,-2.465,29.36), (20.325,31.54,21.035,31.91), (-3.175,32.63,-2.465,33), (22.525,34.19,23.235,34.56), (-3.175,35.69,-2.465,36.06), (-3.175,42.33,-2.465,42.7), (22.525,42.33,23.235,42.7)])
ota.add(gdstk.Reference(sky130_fd_pr__pfet_01v8_, (1.48,39.195)))
ota.add(gdstk.Reference(sky130_fd_pr__pfet_01v8_, (5.78,39.195)))
ota.add(gdstk.Reference(sky130_fd_pr__nfet_01v8_, (1.485,26.455)))
ota.add(gdstk.Reference(c_sky130_fd_pr__pfet_01v8_, (16.715,38.445)))
ota.add(gdstk.Reference(c_sky130_fd_pr__nfet_01v8_, (16.725,29.2)))
ota.add(gdstk.Reference(sky130_fd_pr__nfet_01v8_, (5.785,26.455)))
ota.add(gdstk.Reference(c_sky130_fd_pr__pfet_01v8__, (5.78,30.995)))
ota.add(gdstk.Reference(c_sky130_fd_pr__pfet_01v8___, (1.48,30.995)))
ota.add(gdstk.Reference(sky130_fd_pr__cap_mim_m3, (10.85,11.7)))
ota.add(gdstk.Label('vd', (5.7,44.8), layer=68, texttype=5))
ota.add(gdstk.Label('vs', (-8.2,23.8), layer=68, texttype=5))
ota.add(gdstk.Label('ib', (-8.2,36.8), layer=68, texttype=5))
ota.add(gdstk.Label('in1', (-8.2,33.2), layer=68, texttype=5))
ota.add(gdstk.Label('in2', (-8.2,28.7), layer=68, texttype=5))
ota.add(gdstk.Label('out', (27.7,33.5), layer=68, texttype=5))

lib.write_gds('ota.gds')
